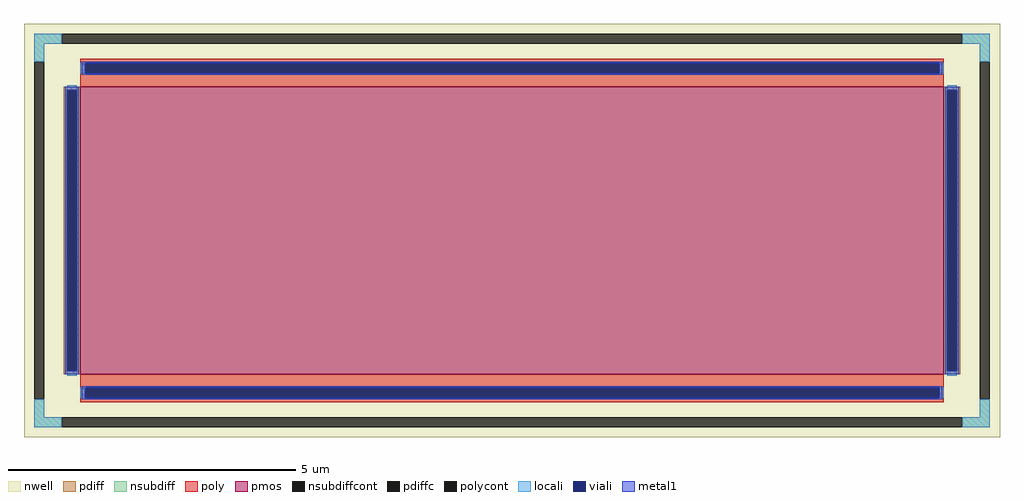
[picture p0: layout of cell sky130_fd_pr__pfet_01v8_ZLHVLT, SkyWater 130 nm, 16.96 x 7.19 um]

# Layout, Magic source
magic
tech sky130A
magscale 1 2
<< nwell >>
rect -1696 -719 1696 719
<< pmos >>
rect -1500 -500 1500 500
<< pdiff >>
rect -1558 488 -1500 500
rect -1558 -488 -1546 488
rect -1512 -488 -1500 488
rect -1558 -500 -1500 -488
rect 1500 488 1558 500
rect 1500 -488 1512 488
rect 1546 -488 1558 488
rect 1500 -500 1558 -488
<< pdiffc >>
rect -1546 -488 -1512 488
rect 1512 -488 1546 488
<< nsubdiff >>
rect -1660 649 -1564 683
rect 1564 649 1660 683
rect -1660 587 -1626 649
rect 1626 587 1660 649
rect -1660 -649 -1626 -587
rect 1626 -649 1660 -587
rect -1660 -683 -1564 -649
rect 1564 -683 1660 -649
<< nsubdiffcont >>
rect -1564 649 1564 683
rect -1660 -587 -1626 587
rect 1626 -587 1660 587
rect -1564 -683 1564 -649
<< poly >>
rect -1500 581 1500 597
rect -1500 547 -1484 581
rect 1484 547 1500 581
rect -1500 500 1500 547
rect -1500 -547 1500 -500
rect -1500 -581 -1484 -547
rect 1484 -581 1500 -547
rect -1500 -597 1500 -581
<< polycont >>
rect -1484 547 1484 581
rect -1484 -581 1484 -547
<< locali >>
rect -1660 649 -1564 683
rect 1564 649 1660 683
rect -1660 587 -1626 649
rect 1626 587 1660 649
rect -1500 547 -1484 581
rect 1484 547 1500 581
rect -1546 488 -1512 504
rect -1546 -504 -1512 -488
rect 1512 488 1546 504
rect 1512 -504 1546 -488
rect -1500 -581 -1484 -547
rect 1484 -581 1500 -547
rect -1660 -649 -1626 -587
rect 1626 -649 1660 -587
rect -1660 -683 -1564 -649
rect 1564 -683 1660 -649
<< viali >>
rect -1484 547 1484 581
rect -1546 -488 -1512 488
rect 1512 -488 1546 488
rect -1484 -581 1484 -547
<< metal1 >>
rect -1496 581 1496 587
rect -1496 547 -1484 581
rect 1484 547 1496 581
rect -1496 541 1496 547
rect -1552 488 -1506 500
rect -1552 -488 -1546 488
rect -1512 -488 -1506 488
rect -1552 -500 -1506 -488
rect 1506 488 1552 500
rect 1506 -488 1512 488
rect 1546 -488 1552 488
rect 1506 -500 1552 -488
rect -1496 -547 1496 -541
rect -1496 -581 -1484 -547
rect 1484 -581 1496 -547
rect -1496 -587 1496 -581
<< properties >>
string FIXED_BBOX -1643 -666 1643 666
string gencell sky130_fd_pr__pfet_01v8
string library sky130
string parameters w 5.0 l 15.0 m 1 nf 1 diffcov 100 polycov 100 guard 1 glc 1 grc 1 gtc 1 gbc 1 tbcov 100 rlcov 100 topc 1 botc 1 poverlap 0 doverlap 1 lmin 0.15 wmin 0.42 compatible {sky130_fd_pr__pfet_01v8  sky130_fd_pr__pfet_01v8_lvt sky130_fd_pr__pfet_01v8_hvt  sky130_fd_pr__pfet_g5v0d10v5} full_metal 1 viasrc 100 viadrn 100 viagate 100 viagb 0 viagr 0 viagl 0 viagt 0
<< end >>
